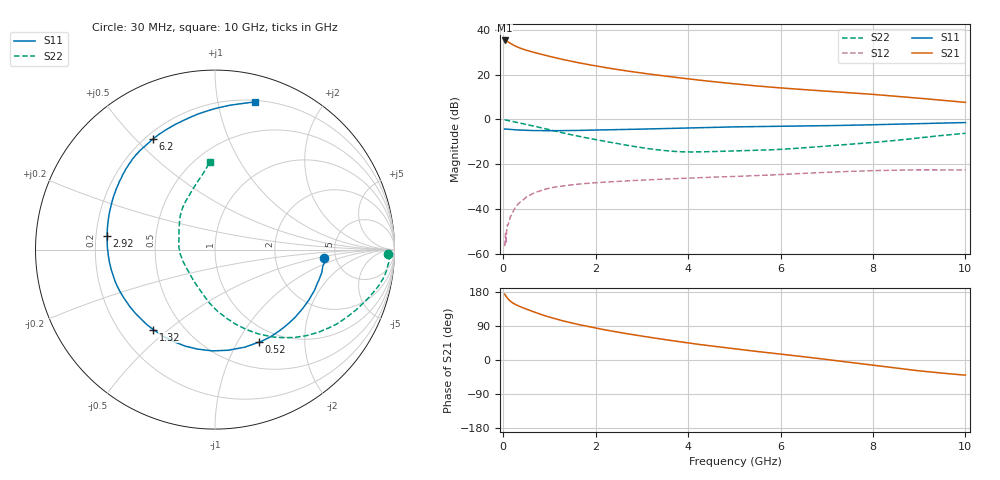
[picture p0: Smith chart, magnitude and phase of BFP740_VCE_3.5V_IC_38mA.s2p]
! Infineon Technologies  Discrete & RF Semiconductors
! BFP740
! VCE =  3.5 V,  IC =  38 mA
! Common Emitter S-Parameters:  Jan 2016
# GHz  S  MA  R  50
!  f  S11  S21  S12  S22
! GHz  MAG  ANG  MAG  ANG  MAG  ANG  MAG  ANG
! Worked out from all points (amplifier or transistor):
!   229 points, 30 MHz to 10 GHz, reference 50 ohm
!   highest |S21| = 35.2 dB at 30 MHz (marker M1)
!   |S21| within 3 dB of that: start of sweep to 316.1 MHz
!   unconditionally stable (mu >= 1): 5.762 GHz to 7.691 GHz
!   at 280 MHz: K = 0.33, MSG = 35.6 dB, |S12| = -38.7 dB
!   at 1.78 GHz: K = 0.54, MSG = 26.6 dB, |S12| = -28.6 dB
!   at 10 GHz: K = 0.98, MSG = 15.1 dB, |S12| = -22.5 dB
!   S11 on the Smith chart (normalised r, x): 30 MHz: 3.99, -0.60; 520 MHz: 0.80, -1.23; 1.32 GHz: 0.34, -0.45; 2.92 GHz: 0.25, +0.06; 6.2 GHz: 0.23, +0.56; 10 GHz: 0.21, +1.28
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0.03  0.6065 -4.5  57.51 173.8  0.0015 107.5  0.9664 -1.5
0.06  0.6077 -8.8  56.68 168.1  0.0017 119.4  0.9679 -4.9
0.11  0.6032 -16.5  53.1 160.4  0.0046 77.7  0.9497 -10.0
0.15  0.5994 -22.0  50.01 155.7  0.0066 78.5  0.9275 -13.3
0.2  0.5935 -28.4  46.6 151.0  0.0081 77.5  0.9018 -16.8
0.26  0.5869 -35.8  43.3 146.8  0.0109 75.6  0.874 -20.4
0.34  0.5807 -45.2  39.74 142.2  0.0137 69.7  0.8401 -25.1
0.52  0.5706 -64.7  34.41 133.4  0.0191 62.4  0.7677 -34.8
0.7  0.5655 -82.5  30.52 125.1  0.0237 56.2  0.6977 -43.5
0.9  0.5629 -99.7  27.03 116.9  0.0277 49.6  0.6222 -52.1
1.12  0.5613 -115.4  23.79 108.9  0.0312 44.2  0.5493 -60.3
1.32  0.5626 -127.6  21.34 102.5  0.0334 40.5  0.4935 -66.7
1.7  0.5711 -146.5  17.76 91.8  0.0367 35.1  0.4077 -77.4
2.26  0.5875 -167.9  14.02 78.2  0.0404 29.7  0.3175 -92.3
2.92  0.6064 172.7  11.08 64.6  0.044 25.5  0.2411 -110.0
3.4  0.623 160.9  9.534 55.6  0.0464 23.2  0.2074 -126.2
4.3  0.6571 142.6  7.395 40.1  0.0507 19.0  0.1898 -159.6
5.1  0.6844 131.0  6.074 28.0  0.0541 15.9  0.2005 177.9
6.2  0.7055 119.4  4.864 12.9  0.0608 12.0  0.2219 154.7
6.8  0.7209 112.5  4.396 4.3  0.0649 8.6  0.2452 143.8
8.4  0.7804 91.4  3.354 -19.7  0.0737 -3.4  0.3337 115.9
10  0.8517 74.9  2.402 -40.0  0.0749 -13.9  0.4906 93.4
